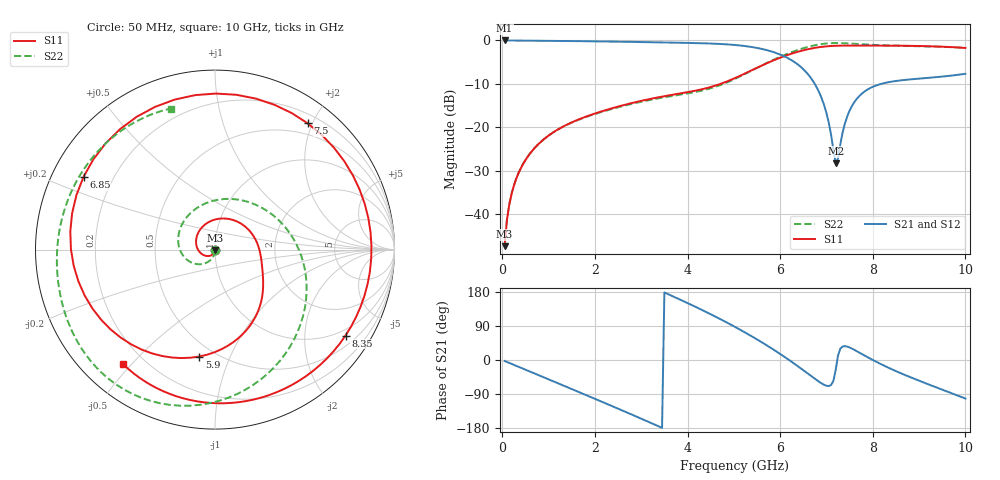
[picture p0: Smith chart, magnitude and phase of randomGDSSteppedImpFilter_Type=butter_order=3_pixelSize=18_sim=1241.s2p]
! freq	dB(S11)	phase(S11)	dB(S12)	phase(S12)
!  dB(S21)	phase(S21)	dB(S22)	phase(S22)
!S-par simulation data
#  GHz  S  DB  R 50
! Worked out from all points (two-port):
!   200 points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, 50 MHz to 10 GHz, reference 50 ohm
!   highest |S21| = -0.01 dB at 50 MHz (marker M1); lowest = -28.3 dB at 7.2 GHz (marker M2)
!   |S21| within 3 dB of the highest: start of sweep to 5.94 GHz
!   lowest |S11| = -47.4 dB at 50 MHz (marker M3), VSWR 1.01, Z = 50 - j0.425 ohm
!   |S11| at or under -10 dB: start of sweep to 4.716 GHz
!   |S22| runs from -47.4 to -0.6 dB; largest |S21 - S12| = 0
!   S11 on the Smith chart (normalised r, x): 50 MHz: 1.00, -0.01; 5.9 GHz: 0.41, -0.77; 6.85 GHz: 0.09, +0.26; 7.5 GHz: 0.33, +1.93; 8.35 GHz: 0.80, -3.15; 10 GHz: 0.12, -0.48
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0.05  -47.43 -89.8  -0.01 -2.6  -0.01 -2.6  -47.39 -87.6
0.1  -41.41 -95.4  -0.01 -5.2  -0.01 -5.2  -41.36 -91.1
0.2  -35.41 -103.8  -0.02 -10.3  -0.02 -10.3  -35.35 -95.2
0.5  -27.59 -126.6  -0.04 -25.6  -0.04 -25.6  -27.54 -105.1
1.15  -20.85 -175.2  -0.11 -58.7  -0.11 -58.7  -20.87 -124.4
1.75  -17.79 139.3  -0.18 -89.5  -0.18 -89.5  -17.88 -140.6
2.5  -15.25 83.3  -0.28 -128.4  -0.28 -128.4  -15.42 -162.2
3.4  -13.06 24.9  -0.45 -176.4  -0.45 -176.4  -13.30 160.9
4.15  -11.63 -11.1  -0.61 141.6  -0.61 141.6  -11.93 112.9
4.65  -10.25 -29.6  -0.79 111.5  -0.79 111.5  -10.52 71.0
5.05  -8.56 -45.4  -1.08 85.7  -1.08 85.7  -8.74 34.8
5.9  -4.41 -98.4  -2.85 24.0  -2.85 24.0  -4.24 -36.9
6.3  -2.87 -137.0  -4.92 -9.2  -4.92 -9.2  -2.49 -66.9
6.7  -1.80 172.8  -9.22 -45.2  -9.22 -45.2  -1.22 -95.5
6.85  -1.54 151.1  -12.15 -58.3  -12.15 -58.3  -0.91 -106.0
7.05  -1.32 120.4  -18.97 -68.7  -18.97 -68.7  -0.67 -119.5
7.2  -1.23 97.3  -28.33 -25.6  -28.33 -25.6  -0.61 -129.1
7.5  -1.18 53.7  -16.16 33.0  -16.16 33.0  -0.71 -146.4
7.85  -1.19 11.5  -11.57 10.0  -11.57 10.0  -0.93 -163.6
8.35  -1.20 -33.4  -9.61 -21.1  -9.61 -21.1  -1.16 174.9
9.1  -1.31 -81.0  -8.72 -59.5  -8.72 -59.5  -1.36 144.4
10  -1.74 -128.6  -7.69 -101.7  -7.69 -101.7  -1.68 107.5
